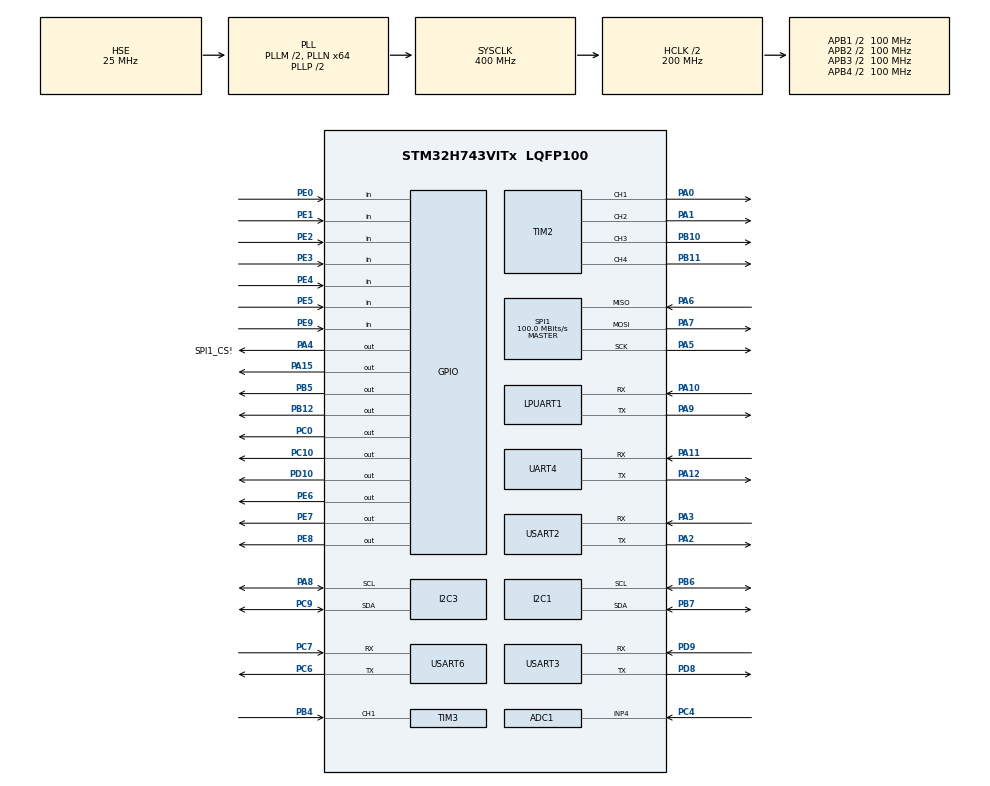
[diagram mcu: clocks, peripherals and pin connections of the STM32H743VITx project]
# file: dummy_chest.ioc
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ADC1.Channel-0\#ChannelRegularConversion=ADC_CHANNEL_4
ADC1.ClockPrescaler=ADC_CLOCK_ASYNC_DIV1
ADC1.NbrOfConversionFlag=1
ADC1.OffsetNumber-0\#ChannelRegularConversion=ADC_OFFSET_NONE
ADC1.OffsetSignedSaturation-0\#ChannelRegularConversion=DISABLE
ADC1.Rank-0\#ChannelRegularConversion=1
ADC1.SamplingTime-0\#ChannelRegularConversion=ADC_SAMPLETIME_1CYCLE_5
ADC1.master=1
CORTEX_M7.CPU_DCache=Enabled
CORTEX_M7.CPU_ICache=Enabled
CORTEX_M7.default_mode_Activation=1
FREERTOS.Queues01=pushButtonQueue,256,uint8_t,0,Dynamic,NULL,NULL
FREERTOS.Tasks01=defaultTask,0,128,StartDefaultTask,Default,NULL,Dynamic,NULL,NULL;air,3,128,airTask,Default,NULL,Dynamic,NULL,NULL;movtion,-2,128,movtionTask,Default,NULL,Dynamic,NULL,NULL;pushButton,-3,128,pushButtonTask,Default,NULL,Dynamic,NULL,NULL
I2C1.Timing=0x10C0ECFF
I2C3.Timing=0x10C0ECFF
Mcu.Family=STM32H7
Mcu.Name=STM32H743VITx
Mcu.Package=LQFP100
NVIC.PriorityGroup=NVIC_PRIORITYGROUP_4
NVIC.TIM17_IRQn=true\:15\:0\:false\:false\:true\:false\:false\:true\:true
NVIC.TimeBase=TIM17_IRQn
NVIC.TimeBaseIP=TIM17
PA0.Signal=S_TIM2_CH1_ETR
PA1.Signal=S_TIM2_CH2
PA10.Mode=Asynchronous
PA10.Signal=LPUART1_RX
PA11.Mode=Asynchronous
PA11.Signal=UART4_RX
PA12.Mode=Asynchronous
PA12.Signal=UART4_TX
PA13\ (JTMS/SWDIO).Mode=Serial_Wire
PA13\ (JTMS/SWDIO).Signal=DEBUG_JTMS-SWDIO
PA14\ (JTCK/SWCLK).Mode=Serial_Wire
PA14\ (JTCK/SWCLK).Signal=DEBUG_JTCK-SWCLK
PA15\ (JTDI).Signal=GPIO_Output
PA2.Mode=Asynchronous
PA2.Signal=USART2_TX
PA3.Mode=Asynchronous
PA3.Signal=USART2_RX
PA4.GPIO_Label=SPI1_CS\!
PA4.Signal=GPIO_Output
PA5.Mode=Full_Duplex_Master
PA5.Signal=SPI1_SCK
PA6.Mode=Full_Duplex_Master
PA6.Signal=SPI1_MISO
PA7.Mode=Full_Duplex_Master
PA7.Signal=SPI1_MOSI
PA8.Mode=I2C
PA8.Signal=I2C3_SCL
PA9.Mode=Asynchronous
PA9.Signal=LPUART1_TX
PB10.Signal=S_TIM2_CH3
PB11.Signal=S_TIM2_CH4
PB12.Signal=GPIO_Output
PB4\ (NJTRST).Signal=S_TIM3_CH1
PB5.Signal=GPIO_Output
PB6.Mode=I2C
PB6.Signal=I2C1_SCL
PB7.Mode=I2C
PB7.Signal=I2C1_SDA
PC0.Signal=GPIO_Output
PC10.Signal=GPIO_Output
PC4.Signal=ADCx_INP4
PC6.Mode=Asynchronous
PC6.Signal=USART6_TX
PC7.Mode=Asynchronous
PC7.Signal=USART6_RX
PC9.Mode=I2C
PC9.Signal=I2C3_SDA
PD10.GPIO_Speed=GPIO_SPEED_FREQ_HIGH
PD10.Signal=GPIO_Output
PD8.Mode=Asynchronous
PD8.Signal=USART3_TX
PD9.Mode=Asynchronous
PD9.Signal=USART3_RX
PE0.Signal=GPIO_Input
PE1.Signal=GPIO_Input
PE2.Signal=GPIO_Input
PE3.Signal=GPIO_Input
PE4.Signal=GPIO_Input
PE5.Signal=GPIO_Input
PE6.Signal=GPIO_Output
PE7.Signal=GPIO_Output
PE8.Signal=GPIO_Output
PE9.Signal=GPIO_Input
PH0-OSC_IN\ (PH0).Mode=HSE-External-Oscillator
PH0-OSC_IN\ (PH0).Signal=RCC_OSC_IN
PH1-OSC_OUT\ (PH1).Mode=HSE-External-Oscillator
PH1-OSC_OUT\ (PH1).Signal=RCC_OSC_OUT
ProjectManager.HeapSize=0x400
ProjectManager.StackSize=0x800
ProjectManager.TargetToolchain=MDK-ARM V5.32
RCC.ADCCLockSelection=RCC_ADCCLKSOURCE_CLKP
RCC.ADCFreq_Value=64000000
RCC.APB1Freq_Value=100000000
RCC.APB2Freq_Value=100000000
RCC.APB3Freq_Value=100000000
RCC.APB4Freq_Value=100000000
RCC.CortexFreq_Value=400000000
RCC.D1PPRE=RCC_APB3_DIV2
RCC.D2PPRE1=RCC_APB1_DIV2
RCC.D2PPRE2=RCC_APB2_DIV2
RCC.D3PPRE=RCC_APB4_DIV2
RCC.DIVM1=2
RCC.DIVM2=2
RCC.DIVN1=64
RCC.DIVN2=12
RCC.DIVQ1=4
RCC.HCLKFreq_Value=200000000
RCC.HPRE=RCC_HCLK_DIV2
RCC.HSE_VALUE=25000000
RCC.PLL2FRACN=0
RCC.PLL3FRACN=0
RCC.PLLFRACN=0
RCC.PLLSourceVirtual=RCC_PLLSOURCE_HSE
RCC.SYSCLKFreq_VALUE=400000000
RCC.SYSCLKSource=RCC_SYSCLKSOURCE_PLLCLK
RCC.USBFreq_Value=200000000
SH.ADCx_INP4.0=ADC1_INP4,IN4-Single-Ended
SH.S_TIM2_CH1_ETR.0=TIM2_CH1,PWM Generation1 CH1
SH.S_TIM2_CH2.0=TIM2_CH2,PWM Generation2 CH2
SH.S_TIM2_CH3.0=TIM2_CH3,PWM Generation3 CH3
SH.S_TIM2_CH4.0=TIM2_CH4,PWM Generation4 CH4
SH.S_TIM3_CH1.0=TIM3_CH1,Input_Capture1_from_TI1
SPI1.BaudRatePrescaler=SPI_BAUDRATEPRESCALER_2
SPI1.CalculateBaudRate=100.0 MBits/s
SPI1.Direction=SPI_DIRECTION_2LINES
SPI1.Mode=SPI_MODE_MASTER
SPI1.VirtualType=VM_MASTER
TIM2.Channel-PWM\ Generation1\ CH1=TIM_CHANNEL_1
TIM2.Channel-PWM\ Generation2\ CH2=TIM_CHANNEL_2
TIM2.Channel-PWM\ Generation3\ CH3=TIM_CHANNEL_3
TIM2.Channel-PWM\ Generation4\ CH4=TIM_CHANNEL_4
TIM3.Channel-Input_Capture1_from_TI1=TIM_CHANNEL_1
USART2.VirtualMode-Asynchronous=VM_ASYNC
USART3.VirtualMode-Asynchronous=VM_ASYNC
USART6.VirtualMode=VM_ASYNC
VP_FREERTOS_VS_CMSIS_V1.Mode=CMSIS_V1
VP_SYS_VS_tim17.Mode=TIM17
VP_TIM3_VS_ClockSourceITR.Mode=TriggerSource_ITR0
VP_TIM3_VS_ControllerModeClock.Mode=Clock Mode
board=custom

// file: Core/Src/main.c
/* USER CODE BEGIN Header */
/**
  ******************************************************************************
  * @file           : main.c
  * @brief          : Main program body
  ******************************************************************************
  * @attention
  *
  * Copyright (c) 2024 STMicroelectronics.
  * All rights reserved.
  *
  * This software is licensed under terms that can be found in the LICENSE file
  * in the root directory of this software component.
  * If no LICENSE file comes with this software, it is provided AS-IS.
  *
  ******************************************************************************
  */
/* USER CODE END Header */
#include "main.h"
#include "cmsis_os.h"
#include "adc.h"
#include "i2c.h"
#include "usart.h"
#include "spi.h"
#include "tim.h"
#include "gpio.h"

void SystemClock_Config(void);
void PeriphCommonClock_Config(void);
static void MPU_Config(void);
void MX_FREERTOS_Init(void);

int main(void)
{

  /* MPU Configuration--------------------------------------------------------*/
  MPU_Config();

  /* Enable the CPU Cache */

  /* Enable I-Cache---------------------------------------------------------*/
  SCB_EnableICache();

  /* Enable D-Cache---------------------------------------------------------*/
  SCB_EnableDCache();

  /* MCU Configuration--------------------------------------------------------*/

  /* Reset of all peripherals, Initializes the Flash interface and the Systick. */
  HAL_Init();

  /* Configure the system clock */
  SystemClock_Config();

/* Configure the peripherals common clocks */
  PeriphCommonClock_Config();

  /* Initialize all configured peripherals */
  MX_GPIO_Init();
  MX_LPUART1_UART_Init();
  MX_USART3_UART_Init();
  MX_I2C1_Init();
  MX_UART4_Init();
  MX_USART6_UART_Init();
  MX_TIM2_Init();
  MX_ADC1_Init();
  MX_I2C3_Init();
  MX_USART2_UART_Init();
  MX_SPI1_Init();
  MX_TIM3_Init();
  /* USER CODE BEGIN 2 */
 HAL_UART_Transmit(&hlpuart1,"123",3,3);
 HAL_UART_Transmit(&huart3,"123",3,3);
  /* USER CODE END 2 */

  /* Call init function for freertos objects (in cmsis_os2.c) */
  MX_FREERTOS_Init();

  /* Start scheduler */
  osKernelStart();

  /* We should never get here as control is now taken by the scheduler */

  /* Infinite loop */
  while (1)
  {

  }
}

void SystemClock_Config(void)
{
  RCC_OscInitTypeDef RCC_OscInitStruct = {0};
  RCC_ClkInitTypeDef RCC_ClkInitStruct = {0};

  /** Supply configuration update enable
  */
  HAL_PWREx_ConfigSupply(PWR_LDO_SUPPLY);

  /** Configure the main internal regulator output voltage
  */
  __HAL_PWR_VOLTAGESCALING_CONFIG(PWR_REGULATOR_VOLTAGE_SCALE1);

  while(!__HAL_PWR_GET_FLAG(PWR_FLAG_VOSRDY)) {}

  /** Initializes the RCC Oscillators according to the specified parameters
  * in the RCC_OscInitTypeDef structure.
  */
  RCC_OscInitStruct.OscillatorType = RCC_OSCILLATORTYPE_HSI|RCC_OSCILLATORTYPE_HSE;
  RCC_OscInitStruct.HSEState = RCC_HSE_ON;
  RCC_OscInitStruct.HSIState = RCC_HSI_DIV1;
  RCC_OscInitStruct.HSICalibrationValue = RCC_HSICALIBRATION_DEFAULT;
  RCC_OscInitStruct.PLL.PLLState = RCC_PLL_ON;
  RCC_OscInitStruct.PLL.PLLSource = RCC_PLLSOURCE_HSE;
  RCC_OscInitStruct.PLL.PLLM = 2;
  RCC_OscInitStruct.PLL.PLLN = 64;
  RCC_OscInitStruct.PLL.PLLP = 2;
  RCC_OscInitStruct.PLL.PLLQ = 4;
  RCC_OscInitStruct.PLL.PLLR = 2;
  RCC_OscInitStruct.PLL.PLLRGE = RCC_PLL1VCIRANGE_3;
  RCC_OscInitStruct.PLL.PLLVCOSEL = RCC_PLL1VCOWIDE;
  RCC_OscInitStruct.PLL.PLLFRACN = 0;
  if (HAL_RCC_OscConfig(&RCC_OscInitStruct) != HAL_OK)
  {
    Error_Handler();
  }

  /** Initializes the CPU, AHB and APB buses clocks
  */
  RCC_ClkInitStruct.ClockType = RCC_CLOCKTYPE_HCLK|RCC_CLOCKTYPE_SYSCLK
                              |RCC_CLOCKTYPE_PCLK1|RCC_CLOCKTYPE_PCLK2
                              |RCC_CLOCKTYPE_D3PCLK1|RCC_CLOCKTYPE_D1PCLK1;
  RCC_ClkInitStruct.SYSCLKSource = RCC_SYSCLKSOURCE_PLLCLK;
  RCC_ClkInitStruct.SYSCLKDivider = RCC_SYSCLK_DIV1;
  RCC_ClkInitStruct.AHBCLKDivider = RCC_HCLK_DIV2;
  RCC_ClkInitStruct.APB3CLKDivider = RCC_APB3_DIV2;
  RCC_ClkInitStruct.APB1CLKDivider = RCC_APB1_DIV2;
  RCC_ClkInitStruct.APB2CLKDivider = RCC_APB2_DIV2;
  RCC_ClkInitStruct.APB4CLKDivider = RCC_APB4_DIV2;

  if (HAL_RCC_ClockConfig(&RCC_ClkInitStruct, FLASH_LATENCY_2) != HAL_OK)
  {
    Error_Handler();
  }
}

void PeriphCommonClock_Config(void)
{
  RCC_PeriphCLKInitTypeDef PeriphClkInitStruct = {0};

  /** Initializes the peripherals clock
  */
  PeriphClkInitStruct.PeriphClockSelection = RCC_PERIPHCLK_CKPER;
  PeriphClkInitStruct.CkperClockSelection = RCC_CLKPSOURCE_HSI;
  if (HAL_RCCEx_PeriphCLKConfig(&PeriphClkInitStruct) != HAL_OK)
  {
    Error_Handler();
  }
}

 /* MPU Configuration */

void MPU_Config(void)
{
  MPU_Region_InitTypeDef MPU_InitStruct = {0};

  /* Disables the MPU */
  HAL_MPU_Disable();

  /** Initializes and configures the Region and the memory to be protected
  */
  MPU_InitStruct.Enable = MPU_REGION_ENABLE;
  MPU_InitStruct.Number = MPU_REGION_NUMBER0;
  MPU_InitStruct.BaseAddress = 0x0;
  MPU_InitStruct.Size = MPU_REGION_SIZE_4GB;
  MPU_InitStruct.SubRegionDisable = 0x87;
  MPU_InitStruct.TypeExtField = MPU_TEX_LEVEL0;
  MPU_InitStruct.AccessPermission = MPU_REGION_NO_ACCESS;
  MPU_InitStruct.DisableExec = MPU_INSTRUCTION_ACCESS_DISABLE;
  MPU_InitStruct.IsShareable = MPU_ACCESS_SHAREABLE;
  MPU_InitStruct.IsCacheable = MPU_ACCESS_NOT_CACHEABLE;
  MPU_InitStruct.IsBufferable = MPU_ACCESS_NOT_BUFFERABLE;

  HAL_MPU_ConfigRegion(&MPU_InitStruct);
  /* Enables the MPU */
  HAL_MPU_Enable(MPU_PRIVILEGED_DEFAULT);

}

void HAL_TIM_PeriodElapsedCallback(TIM_HandleTypeDef *htim)
{
  if (htim->Instance == TIM17) {
    HAL_IncTick();
  }
}

void Error_Handler(void)
{
  __disable_irq();
  while (1)
  {
  }
}

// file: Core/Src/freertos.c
/* USER CODE BEGIN Header */
/**
  ******************************************************************************
  * File Name          : freertos.c
  * Description        : Code for freertos applications
  ******************************************************************************
  * @attention
  *
  * Copyright (c) 2024 STMicroelectronics.
  * All rights reserved.
  *
  * This software is licensed under terms that can be found in the LICENSE file
  * in the root directory of this software component.
  * If no LICENSE file comes with this software, it is provided AS-IS.
  *
  ******************************************************************************
  */
/* USER CODE END Header */

#include "FreeRTOS.h"
#include "task.h"
#include "main.h"
#include "cmsis_os.h"

/* USER CODE BEGIN Includes */
#include "pushButton.h"
#include "usart.h"
/* USER CODE END Includes */

osThreadId defaultTaskHandle;
osThreadId airHandle;
osThreadId movtionHandle;
osThreadId pushButtonHandle;
osMessageQId pushButtonQueueHandle;

void StartDefaultTask(void const * argument);
void airTask(void const * argument);
void movtionTask(void const * argument);
void pushButtonTask(void const * argument);

void MX_FREERTOS_Init(void); /* (MISRA C 2004 rule 8.1) */

/* GetIdleTaskMemory prototype (linked to static allocation support) */
void vApplicationGetIdleTaskMemory( StaticTask_t **ppxIdleTaskTCBBuffer, StackType_t **ppxIdleTaskStackBuffer, uint32_t *pulIdleTaskStackSize );

/* USER CODE BEGIN GET_IDLE_TASK_MEMORY */
static StaticTask_t xIdleTaskTCBBuffer;
static StackType_t xIdleStack[configMINIMAL_STACK_SIZE];

void vApplicationGetIdleTaskMemory( StaticTask_t **ppxIdleTaskTCBBuffer, StackType_t **ppxIdleTaskStackBuffer, uint32_t *pulIdleTaskStackSize )
{
  *ppxIdleTaskTCBBuffer = &xIdleTaskTCBBuffer;
  *ppxIdleTaskStackBuffer = &xIdleStack[0];
  *pulIdleTaskStackSize = configMINIMAL_STACK_SIZE;
  /* place for user code */
}
/* USER CODE END GET_IDLE_TASK_MEMORY */

void MX_FREERTOS_Init(void) {

  /* Create the queue(s) */
  /* definition and creation of pushButtonQueue */
  osMessageQDef(pushButtonQueue, 256, uint32_t);
  pushButtonQueueHandle = osMessageCreate(osMessageQ(pushButtonQueue), NULL);

  /* Create the thread(s) */
  /* definition and creation of defaultTask */
  osThreadDef(defaultTask, StartDefaultTask, osPriorityNormal, 0, 128);
  defaultTaskHandle = osThreadCreate(osThread(defaultTask), NULL);

  /* definition and creation of air */
  osThreadDef(air, airTask, osPriorityRealtime, 0, 128);
  airHandle = osThreadCreate(osThread(air), NULL);

  /* definition and creation of movtion */
  osThreadDef(movtion, movtionTask, osPriorityLow, 0, 128);
  movtionHandle = osThreadCreate(osThread(movtion), NULL);

  /* definition and creation of pushButton */
  osThreadDef(pushButton, pushButtonTask, osPriorityIdle, 0, 128);
  pushButtonHandle = osThreadCreate(osThread(pushButton), NULL);

}

void StartDefaultTask(void const * argument)
{
  /* USER CODE BEGIN StartDefaultTask */
  /* Infinite loop */
  for(;;)
  {
		HAL_GPIO_TogglePin(GPIOE,GPIO_PIN_6);
		HAL_GPIO_TogglePin(GPIOE,GPIO_PIN_7);
		HAL_GPIO_TogglePin(GPIOE,GPIO_PIN_8);
    osDelay(500);
  }
  /* USER CODE END StartDefaultTask */
}

void airTask(void const * argument)
{
  /* USER CODE BEGIN airTask */
  /* Infinite loop */
  for(;;)
  {
		//HAL_GPIO_TogglePin(GPIOB,GPIO_PIN_5);

		HAL_GPIO_WritePin(GPIOD,GPIO_PIN_10,GPIO_PIN_SET);
		osDelay(1);
		HAL_UART_Transmit(&huart3,"123",3,3);
		osDelay(1);
		HAL_GPIO_WritePin(GPIOD,GPIO_PIN_10,GPIO_PIN_RESET);
    osDelay(10);
  }
  /* USER CODE END airTask */
}

void movtionTask(void const * argument)
{
  /* USER CODE BEGIN movtionTask */
  /* Infinite loop */
  for(;;)
  {

    pushButtonQueueProcess();

    osDelay(10);
  }
  /* USER CODE END movtionTask */
}

void pushButtonTask(void const * argument)
{
  /* USER CODE BEGIN pushButtonTask */
  /* Infinite loop */
  for(;;)
  {
    button_kernel(&button1,button1_PORT,button1_PIN);
    button_kernel(&button2,button2_PORT,button2_PIN);
    button_kernel(&button3,button3_PORT,button3_PIN);
    button_kernel(&button4,button4_PORT,button4_PIN);
    button_kernel(&button5,button5_PORT,button5_PIN);
    osDelay(10);
  }
  /* USER CODE END pushButtonTask */
}
